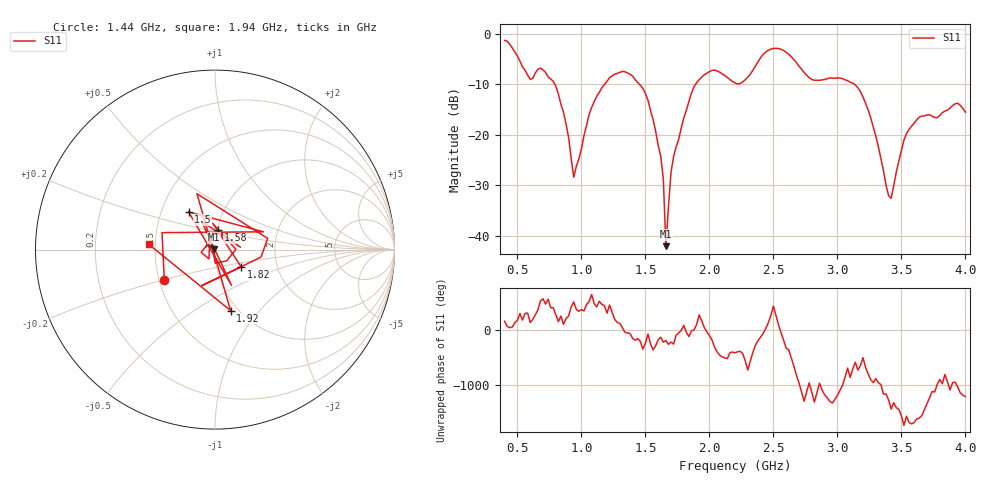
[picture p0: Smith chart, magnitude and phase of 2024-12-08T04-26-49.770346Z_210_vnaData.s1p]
!Created with skrf (http://scikit-rf.org).
# Hz S RI R 50.0
!freq ReS11 ImS11
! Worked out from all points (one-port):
!   181 points, 400 MHz to 4 GHz, reference 50 ohm
!   lowest |S11| = -42.0 dB at 1.66 GHz (marker M1), VSWR 1.02, Z = 49.2 + j0.0844 ohm
!   |S11| at or under -10 dB: 791.8 MHz to 1.181 GHz (389.3 MHz wide, 39.5 % of centre); 1.453 GHz to 1.892 GHz (439 MHz wide, 26.2 % of centre); 3.132 GHz to end of sweep
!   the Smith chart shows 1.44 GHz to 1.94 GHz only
!   S11 on the Smith chart (normalised r, x): 1.44 GHz: 0.53, -0.20; 1.5 GHz: 0.69, +0.31; 1.58 GHz: 1.01, +0.22; 1.82 GHz: 1.31, -0.26; 1.92 GHz: 0.92, -0.72; 1.94 GHz: 0.46, +0.03
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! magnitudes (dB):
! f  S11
! 400 MHz  -1.3
! 600 MHz  -9.0
! 680 MHz  -6.8
! 780 MHz  -9.4
! 860 MHz  -15.5
! 940 MHz  -28.4
! 1.1 GHz  -13.4
! 1.3 GHz  -7.7
! 1.44 GHz  -9.7
! 1.5 GHz  -11.8
! 1.58 GHz  -19.3
! 1.64 GHz  -28.7
! 1.66 GHz  -42.0
! 1.7 GHz  -27.4
! 1.76 GHz  -20.9
! 1.82 GHz  -15.1
! 1.92 GHz  -9.1
! 1.94 GHz  -8.6
! 2.2 GHz  -9.7
! 2.48 GHz  -3.1
! 2.66 GHz  -5.1
! 2.8 GHz  -9.1
! 3.1 GHz  -9.6
! 3.24 GHz  -15.1
! 3.42 GHz  -32.5
! 3.56 GHz  -18.9
! 3.92 GHz  -13.9
! 4 GHz  -15.5
